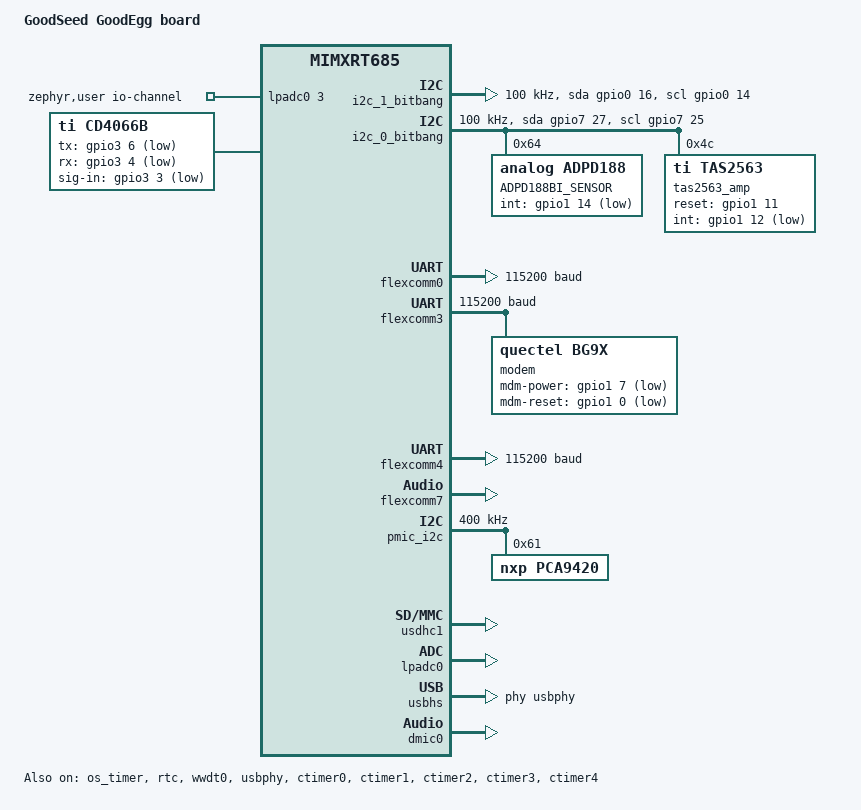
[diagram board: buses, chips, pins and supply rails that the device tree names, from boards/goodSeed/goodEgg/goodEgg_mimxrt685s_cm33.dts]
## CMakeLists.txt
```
# SPDX-License-Identifier: Apache-2.0

cmake_minimum_required(VERSION 3.20.0)
set(ZEPHYR_EXTRA_MODULES
    ${CMAKE_CURRENT_SOURCE_DIR}/modules/tas2563
    ${CMAKE_CURRENT_SOURCE_DIR}/modules/adpd188
    ${CMAKE_CURRENT_SOURCE_DIR}/modules/esp_hosted
    ${CMAKE_CURRENT_SOURCE_DIR}/modules/cd4066b
)
# set(ZEPHYR_EXTRA_MODULES "${CMAKE_CURRENT_SOURCE_DIR}/modules/tas2563")
# list(APPEND ZEPHYR_EXTRA_MODULES "${CMAKE_CURRENT_SOURCE_DIR}/modules/tas2563")
# list(APPEND ZEPHYR_EXTRA_MODULES "${CMAKE_CURRENT_SOURCE_DIR}/modules/adpd188")
# list(APPEND ZEPHYR_EXTRA_MODULES "${CMAKE_CURRENT_SOURCE_DIR}/modules/esp_hosted")
# list(APPEND ZEPHYR_EXTRA_MODULES "${CMAKE_CURRENT_SOURCE_DIR}/modules/cd4066b")
find_package(Zephyr REQUIRED HINTS $ENV{ZEPHYR_BASE})
project(goodEgg-RT685)

target_sources(app PRIVATE app/src/mqtt_over_lte_test.c app/src/mqtt_manager.c)
```

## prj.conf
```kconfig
CONFIG_XIP=n
CONFIG_NXP_IMXRT_BOOT_HEADER=n
CONFIG_BUILD_OUTPUT_BIN=y
CONFIG_GPIO=y
CONFIG_I2C=y
CONFIG_I2S=y
CONFIG_DMA=y
CONFIG_DMA_MCUX_LPC=y
CONFIG_SENSOR=y
CONFIG_SENSOR_ASYNC_API=y
CONFIG_ADC=y
CONFIG_I2C_GPIO=y
CONFIG_LIS2DW12=n
CONFIG_ADPD188=y
CONFIG_ADPD188_TRIGGER=n
CONFIG_CBPRINTF_FP_SUPPORT=y
CONFIG_LOG=y
#CONFIG_LOG_DEFAULT_LEVEL=4
CONFIG_LOG_BACKEND_UART=y
CONFIG_SDHC_LOG_LEVEL_DBG=y
CONFIG_LOG_MODE_IMMEDIATE=y
#CONFIG_CODE_DATA_RELOCATION=y
# I2S logs
#CONFIG_I2S_LOG_LEVEL_DBG=y

# DMA logs  
#CONFIG_DMA_LOG_LEVEL_DBG=y
#CONFIG_SPI=y
#CONFIG_LED_STRIP=y
#CONFIG_WS2812_STRIP=y
#CONFIG_WS2812_STRIP_SPI=y

CONFIG_INIT_SYS_PLL=y

# --- General Kernel Settings ---
CONFIG_HEAP_MEM_POOL_SIZE=16384
#CONFIG_MAIN_STACK_SIZE=4096

# --- SDIO / SDHC Configuration ---
#CONFIG_DISK_ACCESS=y
CONFIG_SDHC=y
CONFIG_IMX_USDHC=y
CONFIG_SDIO_STACK=y
CONFIG_SDHC_INIT_PRIORITY=80
CONFIG_IMX_USDHC_DMA_SUPPORT=y

#CONFIG_SDMMC_STACK=y
# --- Networking Stack (L3/L4) ---
# Since you selected WIFI_USE_NATIVE_NETWORKING, the RT685 runs the stack
CONFIG_NETWORKING=y
CONFIG_NET_L2_ETHERNET=y
CONFIG_NET_IPV4=y
CONFIG_NET_TCP=y
CONFIG_NET_UDP=y
CONFIG_NET_DHCPV4=y

# --- Wi-Fi Management ---
CONFIG_WIFI_INIT_PRIORITY=90
#CONFIG_WIFI_ESP_HOSTED_SDIO=y
CONFIG_WIFI=y
CONFIG_NET_L2_WIFI_MGMT=y
CONFIG_WIFI_NM=y
CONFIG_WIFI_LOG_LEVEL_INF=y
CONFIG_MAIN_STACK_SIZE=4096
CONFIG_SYSTEM_WORKQUEUE_STACK_SIZE=2048

# --- Protocol Buffers (Nanopb) ---
# The driver uses these to talk to the ESP32
CONFIG_NANOPB=y
CONFIG_NANOPB_ENABLE_MALLOC=y

# ---- QUECTEL LTE Modem ----
#CONFIG_MODEM=y
#CONFIG_MODEM_QUECTEL_BG9X=y

# Network stack
CONFIG_NETWORKING=y
#CONFIG_NET_NATIVE=n
CONFIG_NET_OFFLOAD=y
CONFIG_NET_SOCKETS=y
CONFIG_NET_SOCKETS_OFFLOAD=y
#CONFIG_NET_SOCKETS_POSIX_NAMES=y
CONFIG_POSIX_API=y
# UART for modem communication
CONFIG_SERIAL=y
CONFIG_UART_INTERRUPT_DRIVEN=y

# DNS (optional)
CONFIG_DNS_RESOLVER=y

# Modem specific settings
CONFIG_MODEM_QUECTEL_BG9X_APN="etc.com"

#Zephyr Mqtt library support
CONFIG_MQTT_LIB=y
CONFIG_MQTT_LIB_TLS=n  # Enable for MQTTS
CONFIG_EVENTFD=y
CONFIG_ZVFS_EVENTFD_MAX=2
CONFIG_MQTT_KEEPALIVE=60
CONFIG_POSIX_API=y
# CD4066B Driver
CONFIG_CD4066B=y
```

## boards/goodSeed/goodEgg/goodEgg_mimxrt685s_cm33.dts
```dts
/*
 * Copyright 2020-2024 NXP
 *
 * SPDX-License-Identifier: Apache-2.0
 */

/dts-v1/;

#include <nxp/imxrt/nxp_rt6xx.dtsi>
#include <zephyr/dt-bindings/pwm/pwm.h>
#include <zephyr/dt-bindings/gpio/arduino-header-r3.h>
#include <zephyr/dt-bindings/input/input-event-codes.h>

#include "mimxrt685_evk-pinctrl.dtsi"
#include <zephyr/dt-bindings/led/led.h>

/ {
	model = "GoodSeed GoodEgg board";
	compatible = "nxp,mimxrt685";

	aliases {
		/* sw0 = &user_button_1; */
		/* sw1 = &user_button_2; */
		/* led0 = &green_led; */
		/* led1 = &blue_led; */
		/* led2 = &red_led; */
		usart-0 = &flexcomm4;
		//uart0=&flexcomm7;
		/* For pwm test suites */
		/* pwm-0 = &sc_timer; */
		/* pwm-led0 = &green_pwm_led; */
		/* green-pwm-led = &green_pwm_led; */
		/* blue-pwm-led = &blue_pwm_led; */
		/* red-pwm-led = &red_pwm_led; */
		watchdog0 = &wwdt0;
		/* magn0 = &fxos8700; */
		accel0 = &lis2dw12; 
		//sdhc0 = &usdhc0;
		dmic-dev = &dmic0;
		//mcuboot-button0 = &user_button_1;
		mbox = &mbox;
		//led0 = &led0;
		adc0 = &lpadc0; 
		adpd0 = &adpd188bi;

		 /* led0 = &led0;  */
		 /* led1 = &led1; */
		//led-strip = &led_strip;

		//bme6xx = &bme680;
		//die-temp0 = &adc_temp;
		modem = &modem;
	};

	chosen {
		/* zephyr,flash-controller = &mx25um51345g; */
		zephyr,flash = &sram_code;/*&mx25um51345g; */
		zephyr,code-partition = &sram_code;
		zephyr,uart-mcumgr = &flexcomm0;
		zephyr,sram = &sram0;
		zephyr,console = &flexcomm4;
		zephyr,shell-uart = &flexcomm4;
	};

	/* leds { */
	/* 	compatible = "gpio-leds"; */
	/* 	led0: led_0 { */
	/* 		gpios = <&gpio3 8 GPIO_ACTIVE_HIGH>; */
	/* 		label = "Red LED 0"; */
	/* 	}; */
	/**/
	/* 	led1: led_1 { */
	/* 		gpios = <&gpio3 9 GPIO_ACTIVE_HIGH>; */
	/* 		label = "Green LED 0"; */
	/* 	}; */
	/* }; */
	//Bitbang i2c sensor interface
	i2c_1_bitbang: i2c-gpio-1 {

		compatible = "gpio-i2c";
		label = "I2C_0_BITBANG";
		scl-gpios = <&gpio0 14 GPIO_OPEN_DRAIN >; //<&gpio7 25 GPIO_OPEN_DRAIN >; // | GPIO_PULL_UP)>; 
		sda-gpios = <&gpio0 16 GPIO_OPEN_DRAIN >; //<&gpio7 27 GPIO_OPEN_DRAIN >;
		clock-frequency = <I2C_BITRATE_STANDARD>;
		#address-cells = <1>;
		#size-cells = <0>;
		status = "okay";

		/* bme680:bme680@76 { */
		/* 	compatible = "bosch,bme680"; */
		/* 	reg = <0x76>; */
		/* 	status = "okay"; */
		/* }; */

		lis2dw12: lis2dw12@19 {
			compatible = "st,lis2dw12";
			status = "disabled";
			reg = <0x19>;
			/* int1-gpios = <&gpio1 5 GPIO_ACTIVE_LOW>; */
			/* reset-gpios = <&gpio1 7 GPIO_ACTIVE_HIGH>; */
		};


	};
	i2c_0_bitbang: i2c-gpio-0 {

		compatible = "gpio-i2c";
		label = "I2C_0_BITBANG";
		scl-gpios = <&gpio7 25 GPIO_OPEN_DRAIN >; //<&gpio7 25 GPIO_OPEN_DRAIN >; // | GPIO_PULL_UP)>; 
		sda-gpios = <&gpio7 27 GPIO_OPEN_DRAIN >; //<&gpio7 27 GPIO_OPEN_DRAIN >;
		clock-frequency = <I2C_BITRATE_STANDARD>;
		#address-cells = <1>;
		#size-cells = <0>;
		status = "okay";

		/* bme680:bme680@76 { */
		/* 	compatible = "bosch,bme680"; */
		/* 	reg = <0x76>; */
		/* 	status = "okay"; */
		/* }; */

		adpd188bi: analog_adpd188@64 {
			compatible = "analog,adpd188";
			status = "okay";
			reg = <0x64>; 
			label = "ADPD188BI_SENSOR";
			int-gpios = <&gpio1 14 GPIO_ACTIVE_LOW>;
		};

		tas2563_amp: tas2563@4c {

			compatible = "ti,tas2563"; // Standard compatibility string for driver matching

			reg = <0x4c>;              // The 7-bit I2C address of the TAS2563

			// The driver will use this property to configure the I2S peripheral.
			audio-interface = <&i2s0>; 

			// a) RESET Pin (required for initial startup and soft resets)
			reset-gpios = <&gpio1 11 GPIO_ACTIVE_HIGH>; 

			// b) INTERRUPT Pin (for real-time events like short-circuit or thermal warning)
			int-gpios = <&gpio1 12 (GPIO_PULL_UP | GPIO_ACTIVE_LOW)>;

			status = "okay";
		};

	};
	zephyr,user {

        // The io-channels property lives HERE, on the consumer node.
        // Format: <&controller_phandle channel_specifier>
		io-channels = 
            /* <&lpadc0 2>, // Read Hardware Channel 0 from &adc0 */
             <&lpadc0 3>; // Read Hardware Channel 2 from &adc0 */
            /* <&lpadc0 10>, // Read Hardware Channel 0 from &adc0 */
            /* <&lpadc0 11>; // Read Hardware Channel 0 from &adc0 */

	    zephyr,gain = "ADC_GAIN_1_2"; 
	    zephyr,reference = "ADC_REF_EXTERNAL0"; 
            //zephyr,acquisition-time = <ADC_ACQ_TIME_DEFAULT>;
	};
	/* CD4066B Interconnect Switch device tree*/
	cd4066b: cd4066b {

		compatible = "ti,cd4066b";

		status = "okay";
		
		/* TX control - active low */
		tx-gpios = <&gpio3 6 GPIO_ACTIVE_LOW>;
		
		/* RX control - active low */
		rx-gpios = <&gpio3 4 GPIO_ACTIVE_LOW>;
		
		/* Signal input - falling edge interrupt */
		sig-in-gpios = <&gpio3 3 GPIO_ACTIVE_LOW>;
	};
	/* gpio_keys { */
	/* 	compatible = "gpio-keys"; */
	/**/
	/* 	user_button_1: button_0 { */
	/* 		label = "User SW1"; */
	/* 		gpios = <&gpio1 1 GPIO_ACTIVE_LOW>; */
	/* 		zephyr,code = <INPUT_KEY_0>; */
	/* 	}; */
	/**/
	/* 	user_button_2: button_1 { */
	/* 		label = "User SW2"; */
	/* 		gpios = <&gpio0 10 GPIO_ACTIVE_LOW>; */
	/* 		zephyr,code = <INPUT_KEY_1>; */
	/* 	}; */
	/* }; */
	/**/
	/* leds: leds { */
	/* 	compatible = "gpio-leds"; */
	/**/
	/* 	green_led: led_1 { */
	/* 		gpios = <&gpio0 14 0>; */
	/* 		label = "User LED_GREEN"; */
	/* 	}; */
	/**/
	/* 	blue_led: led_2 { */
	/* 		gpios = <&gpio0 26 0>; */
	/* 		label = "User LED_BLUE"; */
	/* 	}; */
	/**/
	/* 	red_led: led_3 { */
	/* 		gpios = <&gpio0 31 0>; */
	/* 		label = "User LED_RED"; */
	/* 	}; */
	/* }; */
	/**/
	/* pwmleds { */
	/* 	compatible = "pwm-leds"; */
	/**/
	/* 	green_pwm_led: green_pwm_led { */
	/* 		pwms = <&sc_timer 0 PWM_MSEC(20) PWM_POLARITY_NORMAL>; */
	/* 		label = "Green PWM LED"; */
	/* 		status = "okay"; */
	/* 	}; */
	/**/
	/* 	blue_pwm_led: blue_pwm_led { */
	/* 		pwms = <&sc_timer 6 PWM_MSEC(20) PWM_POLARITY_NORMAL>; */
	/* 		label = "Blue PWM LED"; */
	/* 		status = "okay"; */
	/* 	}; */
	/**/
	/* 	red_pwm_led: red_pwm_led { */
	/* 		pwms = <&sc_timer 6 PWM_MSEC(20) PWM_POLARITY_NORMAL>; */
	/* 		label = "Red PWM LED"; */
	/* 		status = "disabled"; */
	/* 	}; */
	/* }; */
	/**/
	/* arduino_header: arduino-connector { */
	/* 	compatible = "arduino-header-r3"; */
	/* 	#gpio-cells = <2>; */
	/* 	gpio-map-mask = <0xffffffff 0xffffffc0>; */
	/* 	gpio-map-pass-thru = <0 0x3f>; */
	/* 	gpio-map = <ARDUINO_HEADER_R3_A0 0 &gpio0 5 0>, */
	/* 		   <ARDUINO_HEADER_R3_A1 0 &gpio0 6 0>, */
	/* 		   <ARDUINO_HEADER_R3_A2 0 &gpio0 19 0>, */
	/* 		   <ARDUINO_HEADER_R3_A3 0 &gpio0 20 0>, */
	/* 		   <ARDUINO_HEADER_R3_A4 0 &gpio0 17 0>, */
	/* 		   <ARDUINO_HEADER_R3_A5 0 &gpio0 18 0>, */
	/* 		   <ARDUINO_HEADER_R3_D0 0 &gpio0 30 0>, */
	/* 		   <ARDUINO_HEADER_R3_D1 0 &gpio0 29 0>, */
	/* 		   <ARDUINO_HEADER_R3_D2 0 &gpio0 28 0>, */
	/* 		   <ARDUINO_HEADER_R3_D3 0 &gpio0 27 0>, */
	/* 		   <ARDUINO_HEADER_R3_D4 0 &gpio1 0 0>, */
	/* 		   <ARDUINO_HEADER_R3_D5 0 &gpio1 10 0>, */
	/* 		   <ARDUINO_HEADER_R3_D6 0 &gpio1 2 0>, */
	/* 		   <ARDUINO_HEADER_R3_D7 0 &gpio1 8 0>, */
	/* 		   <ARDUINO_HEADER_R3_D8 0 &gpio1 9 0>, */
	/* 		   <ARDUINO_HEADER_R3_D9 0 &gpio1 7 0>, */
	/* 		   <ARDUINO_HEADER_R3_D10 0 &gpio1 6 0>, */
	/* 		   <ARDUINO_HEADER_R3_D11 0 &gpio1 5 0>, */
	/* 		   <ARDUINO_HEADER_R3_D12 0 &gpio1 4 0>, */
	/* 		   <ARDUINO_HEADER_R3_D13 0 &gpio1 3 0>, */
	/* 		   <ARDUINO_HEADER_R3_D14 0 &gpio0 17 0>, */
	/* 		   <ARDUINO_HEADER_R3_D15 0 &gpio0 18 0>; */
	/* }; */
};

/*
 * RT600 EVK board uses OS timer as the kernel timer
 * In case we need to switch to SYSTICK timer, then
 * replace &os_timer with &systick
 */
&os_timer {
	status = "okay";
	wakeup-source;
};

&rtc {
	status = "okay";
};

&flexcomm0 {
	compatible = "nxp,lpc-usart";
	status = "okay";
	current-speed = <115200>;
	pinctrl-0 = <&pinmux_flexcomm0_usart>;
	pinctrl-names = "default";
	dmas = <&dma0 0>, <&dma0 1>;
	dma-names = "rx", "tx";
};

&flexcomm3 {
	compatible = "nxp,lpc-usart";
	status = "okay";
	current-speed = <115200>;
	pinctrl-0 = <&pinmux_flexcomm3_usart>;
	pinctrl-names = "default";
	dmas = <&dma0 10>, <&dma0 11>;
	dma-names = "rx", "tx";

	modem: modem {
		compatible = "quectel,bg9x";
		mdm-power-gpios = <&gpio1 7 GPIO_ACTIVE_LOW>;
		mdm-reset-gpios = <&gpio1 0 GPIO_ACTIVE_LOW>;
		status = "okay";
	};
};

&flexcomm4 {
	compatible = "nxp,lpc-usart";
	status = "okay";
	current-speed = <115200>;
	pinctrl-0 = <&pinmux_flexcomm4_usart>;
	pinctrl-names = "default";
	dmas = <&dma0 8>, <&dma0 9>;
	dma-names = "rx", "tx";
};


/* &flexcomm4 { */
/* 	compatible = "nxp,lpc-spi"; */
/* 	status = "okay"; */
/* 	#address-cells = <1>; */
/* 	#size-cells = <0>; */
/* 	dmas = <&dma0 8>, <&dma0 9>; */
/* 	dma-names = "rx", "tx"; */
/* 	pinctrl-0 = <&pinmux_flexcomm4_spi>; */
/* 	pinctrl-names = "default"; */
/**/
/* 	led_strip: pi22tat@0 { */
/* 		compatible = "worldsemi,ws2812-spi"; */
/* 		reg = <0>; */
/* 		/* Calculated Frequency: 6.4MHz  */
/* 		 * Datasheet requires 1.25us total bit time (0.156us per SPI bit)  */
/* 		*/ 
/* 		spi-max-frequency = <6400000>; */
/* 		chain-length = <60>;  /* Number of LEDs */ 
/* 		/* * 0-code: 0.3us High / 0.9us Low   */
/* 	         * 0.3us / 0.156us ≈ 2 bits high -> 11000000 (0xC0) */
/* 		 */ 
/* 		spi-zero-frame = <0xC0>; */
/* 		/* * 1-code: 0.9us High / 0.3us Low  */
/* 		 * 0.9us / 0.156us ≈ 6 bits high -> 11111100 (0xFC) */
/* 		*/ 
/* 		spi-one-frame = <0xFC>; */
/* 		color-mapping = <LED_COLOR_ID_GREEN */
/* 				 LED_COLOR_ID_RED */
/* 				 LED_COLOR_ID_BLUE>; */
/* 	}; */
/* }; */

/* &flexcomm7 { */
/* 	compatible = "nxp,lpc-usart"; */
/* 	status = "okay"; */
/* 	current-speed = <115200>; */
/* 	pinctrl-0 = <&pinmux_flexcomm7_usart>; */
/* 	pinctrl-names = "default"; */
/* 	dmas = <&dma0 14>, <&dma0 15>; */
/* 	dma-names = "rx", "tx"; */
/* }; */

//I2S transmit channel 
i2s0: &flexcomm7 {
	status = "okay";
	compatible = "nxp,lpc-i2s";
	#address-cells = <1>;
	#size-cells = <0>;
	dmas = <&dma0 15>;
	dma-names = "tx";
	pinctrl-0 = <&pinmux_flexcomm7_i2s>;
	pinctrl-names = "default";
};
/* i2s0: &flexcomm6 { */
/* 	status = "okay"; */
/* 	compatible = "nxp,lpc-i2s"; */
/* 	#address-cells = <1>; */
/* 	#size-cells = <0>; */
/* 	dmas = <&dma0 13>; */
/* 	dma-names = "tx"; */
/* 	pinctrl-0 = <&pinmux_flexcomm6_i2s>; */
/* 	pinctrl-names = "default"; */
/* }; */
/**/
/* arduino_i2c: &flexcomm2 { */
/* 	compatible = "nxp,lpc-i2c"; */
/* 	status = "okay"; */
/* 	pinctrl-0 = <&pinmux_flexcomm2_i2c>; */
/* 	pinctrl-names = "default"; */
/* 	clock-frequency = <I2C_BITRATE_FAST>; */
/* 	#address-cells = <1>; */
/* 	#size-cells = <0>; */
/**/
/* 	fxos8700: fxos8700@1e { */
/* 		compatible = "nxp,fxos8700"; */
/* 		status = "okay"; */
/* 		reg = <0x1e>; */
/* 		int1-gpios = <&gpio1 5 GPIO_ACTIVE_LOW>; */
/* 		reset-gpios = <&gpio1 7 GPIO_ACTIVE_HIGH>; */
/* 	}; */
/**/
/* }; */
/**/
/* arduino_serial: &flexcomm4 { */
/* 	compatible = "nxp,lpc-usart"; */
/* 	status = "okay"; */
/* 	current-speed = <115200>; */
/* 	pinctrl-0 = <&pinmux_flexcomm4_usart>; */
/* 	pinctrl-names = "default"; */
/* 	dmas = <&dma0 8>, <&dma0 9>; */
/* 	dma-names = "rx", "tx"; */
/* }; */
/**/
/* arduino_spi: &flexcomm5 { */
/* 	compatible = "nxp,lpc-spi"; */
/* 	status = "okay"; */
/* 	#address-cells = <1>; */
/* 	#size-cells = <0>; */
/* 	dmas = <&dma0 10>, <&dma0 11>; */
/* 	dma-names = "rx", "tx"; */
/* 	pinctrl-0 = <&pinmux_flexcomm5_spi>; */
/* 	pinctrl-names = "default"; */
/* }; */
/**/
/* I2S receive channel */ 
/* i2s0: &flexcomm1 { */
/* 	status = "okay"; */
/* 	compatible = "nxp,lpc-i2s"; */
/* 	#address-cells = <1>; */
/* 	#size-cells = <0>; */
/* 	dmas = <&dma0 2>; */
/* 	dma-names = "rx"; */
/* 	pinctrl-0 = <&pinmux_flexcomm1_i2s>; */
/* 	pinctrl-names = "default"; */
/* }; */
/**/
/* I2S transmit channel */ 
/* i2s0: &flexcomm3 { */
/* 	status = "okay"; */
/* 	compatible = "nxp,lpc-i2s"; */
/* 	#address-cells = <1>; */
/* 	#size-cells = <0>; */
/* 	dmas = <&dma0 7>; */
/* 	dma-names = "tx"; */
/* 	pinctrl-0 = <&pinmux_flexcomm3_i2s>; */
/* 	pinctrl-names = "default"; */
/* }; */
/**/
/* PCA9420 PMIC */
&pmic_i2c {
	status = "okay";
	compatible = "nxp,lpc-i2c";
	clock-frequency = <I2C_BITRATE_FAST>;
	#address-cells = <1>;
	#size-cells = <0>;
	pinctrl-0 = <&pinmux_pmic_i2c>;
	pinctrl-names = "default";

	pca9420: pca9420@61 {
		compatible = "nxp,pca9420";
		reg = <0x61>;
		nxp,enable-modesel-pins;

		buck1: BUCK1 {
			regulator-boot-on;
		};

		buck2: BUCK2 {
			regulator-boot-on;
		};

		ldo1: LDO1 {
			regulator-boot-on;
		};

		ldo2: LDO2 {
			regulator-boot-on;
		};
	};
};

/* &flexspi { */
/* 	pinctrl-0 = <&pinmux_flexspi>; */
/* 	pinctrl-names = "default"; */
/* 	status = "okay"; */
/**/
/* 	mx25um51345g: mx25um51345g@2 { */
/* 		compatible = "nxp,imx-flexspi-mx25um51345g"; */
  		/*MX25UM51245G is 64MB, 512MBit flash part */ 
/* 		size = <DT_SIZE_M(64 * 8)>; */
/* 		reg = <2>; */
/* 		spi-max-frequency = <DT_FREQ_M(120)>; */
/* 		status = "okay"; */
/* 		jedec-id = [c2 81 3a]; */
/* 		erase-block-size = <DT_SIZE_K(4)>; */
/* 		write-block-size = <1>; /* FLASH_MCUX_FLEXSPI_MX25UM51345G_OPI_STR set */ 
/**/
/* 		partitions { */
/* 			compatible = "fixed-partitions"; */
/* 			#address-cells = <1>; */
/* 			#size-cells = <1>; */
/**/
 			/* 
 			 * Partition sizes must be aligned 
 			 * to the flash memory sector size of 4KB. */ 
/**/
/* 			boot_partition: partition@0 { */
/* 				label = "mcuboot"; */
/* 				reg = <0x00000000 DT_SIZE_K(128)>; */
/* 			}; */
/**/
/* 			slot0_partition: partition@20000 { */
/* 				label = "image-0"; */
/* 				reg = <0x00020000 DT_SIZE_M(3)>; */
/* 			}; */
/**/
/* 			slot1_partition: partition@320000 { */
/* 				label = "image-1"; */
/* 				reg = <0x00320000 DT_SIZE_M(3)>; */
/* 			}; */
/**/
/* 			storage_partition: partition@620000 { */
/* 				label = "storage"; */
/* 				reg = <0x00620000 (DT_SIZE_M(58) - DT_SIZE_K(128))>; */
/* 			}; */
/* 		}; */
/* 	}; */
/* }; */

&gpio0 {
	status = "okay";
};

&gpio1 {
	status = "okay";
};

&gpio2 {
	status = "okay";
};

&gpio3 {
	status = "okay";
};

&gpio4 {
	status = "okay";
};

&gpio7 {
	status = "okay";
};

&dma0 {
	status = "okay";
};

&wwdt0 {
	status = "okay";
};

/* &user_button_1 { */
/* 	status = "okay"; */
/* }; */
/**/
/* &user_button_2 { */
/* 	status = "okay"; */
/* }; */
/**/
/* &green_led { */
/* 	status = "okay"; */
/* }; */
/**/
/* &blue_led { */
/* 	status = "okay"; */
/* }; */
/**/
/* &red_led { */
/* 	status = "okay"; */
/* }; */
/**/
/* &sc_timer { */
/* 	status = "okay"; */
/* 	pinctrl-0 = <&pinmux_sctimer>; */
/* 	pinctrl-names = "default"; */
/* }; */

&usdhc1 {
	status = "okay";
	/* Quick fix for 1.8V SD cards on RT600- disable 1.8V negotiation */
	no-1-8-v;
	max-bus-freq = <400000>;
	/* pwr-gpios = <&gpio2 10 GPIO_ACTIVE_HIGH>; */
	/* cd-gpios = <&gpio2 9 GPIO_ACTIVE_LOW>; */

	/* sdmmc { */
	/* 	compatible = "zephyr,sdmmc-disk"; */
	/* 	disk-name = "SD"; */
	/* 	status = "disabled"; */
	/* }; */
	#address-cells = <1>;
	#size-cells = <0>;
	esp32: esp32@1 {

		status = "disabled";
		compatible = "espressif,esp-hosted-sdio";
		reg = <1>;
		//reset-gpios = <&gpio1 9 GPIO_ACTIVE_HIGH>;
		reset-gpios = <&gpio3 19 GPIO_ACTIVE_HIGH>;
	};
	pinctrl-0 = <&pinmux_usdhc>;
	pinctrl-names = "default";
};

&lpadc0 {
	status = "okay";
	pinctrl-0 = <&pinmux_lpadc0>;
	pinctrl-names = "default";
};

zephyr_udc0: &usbhs {
	status = "okay";
	phy-handle = <&usbphy>;
};

&usbphy {
	status = "okay";
	tx-d-cal = <12>;
	tx-cal-45-dp-ohms = <6>;
	tx-cal-45-dm-ohms = <6>;
};

&ctimer0 {
	status = "okay";
};

&ctimer1 {
	status = "okay";
};

&ctimer2 {
	status = "okay";
};

&ctimer3 {
	status = "okay";
};

&ctimer4 {
	status = "okay";
};

/* &i3c0 { */
/* 	pinctrl-0 = <&pinmux_i3c>; */
/* 	pinctrl-names = "default"; */
/**/
/* 	status = "okay"; */
/**/
/* 	audio_codec: wm8904@1a0000000000000000 { */
/* 		compatible = "wolfson,wm8904"; */
/* 		reg = <0x1a 0 0>; */
/**/
/* 		clock-source = "MCLK"; */
/**/
/* 		clocks = <&clkctl0 MCUX_AUDIO_MCLK>; */
/* 		clock-names = "mclk"; */
/* 	}; */
/* }; */

&sram_code {

	status = "okay";

};

/* Disable this node if not using USB and need another MPU region */
&sram1 {
	status = "okay";
};

&mbox {
	status = "okay";
};

&dmic0 {
	status = "okay";
	pinctrl-0 = <&pinmux_dmic0>;
	pinctrl-names = "default";
	use2fs;
};

/* Configure pdm channels 0 and 1 with gain, and cutoff settings
 * appropriate for the attached MEMS microphones.
 */
/* &pdmc0 { */
/* 	status = "okay"; */
/* 	gainshift = <3>; */
/* 	dc-cutoff = "155hz"; */
/* 	dc-gain = <1>; */
/* }; */
/**/
/* &pdmc1 { */
/* 	status = "okay"; */
/* 	gainshift = <3>; */
/* 	dc-cutoff = "155hz"; */
/* 	dc-gain = <1>; */
/* }; */
```

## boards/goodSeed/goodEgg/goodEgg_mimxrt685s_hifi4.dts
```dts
/*
 * Copyright 2025 NXP
 * SPDX-License-Identifier: Apache-2.0
 */

/dts-v1/;

#include <nxp/nxp_rt685_hifi4.dtsi>
#include <zephyr/dt-bindings/gpio/gpio.h>

#include "mimxrt685_evk-pinctrl.dtsi"

/ {
	model = "NXP MIMXRT685-EVK board, HiFi 4 DSP domain";
	compatible = "nxp,mimxrt685";

	chosen {
		zephyr,console = &flexcomm0;
		zephyr,shell-uart = &flexcomm0;
	};

	aliases {
		led0 = &green_led;
		led1 = &blue_led;
		led2 = &red_led;
		sw0 = &user_button_1;
		mbox = &mbox;
	};

	leds: leds {
		compatible = "gpio-leds";

		green_led: led_1 {
			gpios = <&gpio0 14 0>;
			label = "User LED_GREEN";
		};

		/* blue_led: led_2 { */
		/* 	gpios = <&gpio0 26 0>; */
		/* 	label = "User LED_BLUE"; */
		/* }; */
		/**/
		/* red_led: led_3 { */
		/* 	gpios = <&gpio0 31 0>; */
		/* 	label = "User LED_RED"; */
		/* }; */
	};

	gpio_keys {
		compatible = "gpio-keys";

		user_button_1: button_0 {
			label = "User SW1";
			gpios = <&gpio1 1 GPIO_ACTIVE_LOW>;
			zephyr,code = <INPUT_KEY_0>;
		};
	};
};

&gpio0 {
	status = "okay";
};

&dma1 {
	status = "okay";
};

&flexcomm0 {
	compatible = "nxp,lpc-usart";
	pinctrl-0 = <&pinmux_flexcomm0_usart>;
	pinctrl-names = "default";
	current-speed = <115200>;
	status = "okay";
};

/* I2S receive channel */
i2s0: &flexcomm1 {
	status = "okay";
	compatible = "nxp,lpc-i2s";
	#address-cells = <1>;
	#size-cells = <0>;
	dmas = <&dma1 2>;
	dma-names = "rx";
	pinctrl-0 = <&pinmux_flexcomm1_i2s>;
	pinctrl-names = "default";
};

/* I2S transmit channel */
i2s1: &flexcomm3 {
	status = "okay";
	compatible = "nxp,lpc-i2s";
	#address-cells = <1>;
	#size-cells = <0>;
	dmas = <&dma1 7>;
	dma-names = "tx";
	pinctrl-0 = <&pinmux_flexcomm3_i2s>;
	pinctrl-names = "default";
};

&i3c0 {
	status = "okay";
	pinctrl-0 = <&pinmux_i3c>;
	pinctrl-names = "default";

	audio_codec: wm8904@1a0000000000000000 {
		compatible = "wolfson,wm8904";
		reg = <0x1a 0 0>;
		clock-source = "MCLK";

		clocks = <&clkctl0 MCUX_AUDIO_MCLK>;
		clock-names = "mclk";
	};
};

&mbox {
	status = "okay";
};
```

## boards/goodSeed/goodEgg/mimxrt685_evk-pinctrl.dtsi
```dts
/*
 * NOTE: File generated by gen_board_pinctrl.py
 * from MIMXRT685-EVK.mex
 *
 * Copyright 2022, 2024 NXP
 * SPDX-License-Identifier: Apache-2.0
 */

//#include <nxp/nxp_imx/rt/MIMXRT685SFVKB-pinctrl.h>
#include <nxp/nxp_imx/rt/MIMXRT685SFFOB-pinctrl.h>

&pinctrl {
	pinmux_flexcomm0_usart: pinmux_flexcomm0_usart {
		group0 {
			pinmux = <FC0_RXD_SDA_MOSI_DATA_PIO0_2>;
			input-enable;
			slew-rate = "normal";
			drive-strength = "normal";
		};

		group1 {
			pinmux = <FC0_TXD_SCL_MISO_WS_PIO0_1>;
			slew-rate = "normal";
			drive-strength = "normal";
		};
	};

	pinmux_flexcomm1_i2s: pinmux_flexcomm1_i2s {
		group0 {
			pinmux = <FC1_RXD_SDA_MOSI_DATA_PIO0_9>;
			input-enable;
			slew-rate = "normal";
			drive-strength = "high";
		};
	};

	pinmux_flexcomm2_i2c: pinmux_flexcomm2_i2c {
		group0 {
			pinmux = <FC2_CTS_SDA_SSEL0_PIO0_17>,
				 <FC2_RTS_SCL_SSEL1_PIO0_18>;
			bias-pull-up;
			input-enable;
			slew-rate = "normal";
			drive-strength = "high";
			drive-open-drain;
		};
	};

	/* pinmux_flexcomm3_i2s: pinmux_flexcomm3_i2s { */
	/* 	group0 { */
	/* 		pinmux = <FC3_RXD_SDA_MOSI_DATA_PIO0_23>, */
	/* 			 <FC3_TXD_SCL_MISO_WS_PIO0_22>, */
	/* 			 <FC3_SCK_PIO0_21>, */
	/* 			 <MCLK_PIO1_10>; */
	/* 		input-enable; */
	/* 		slew-rate = "normal"; */
	/* 		drive-strength = "high"; */
	/* 	}; */
	/* }; */

	pinmux_flexcomm3_i2c: pinmux_flexcomm3_i2c {
		group0 {
			pinmux = <FC3_RXD_SDA_MOSI_DATA_PIO0_23>,
				 <FC3_TXD_SCL_MISO_WS_PIO0_22>;

			bias-pull-up;
			input-enable;
			slew-rate = "normal";
			drive-strength = "high";
			drive-open-drain;
		};
	};

	pinmux_flexcomm3_usart: pinmux_flexcomm3_usart {
		group0 {
			pinmux = <FC3_RXD_SDA_MOSI_DATA_PIO0_23>;
			input-enable;
			slew-rate = "normal";
			drive-strength = "normal";
		};

		group1 {
			pinmux = <FC3_TXD_SCL_MISO_WS_PIO0_22>;
			slew-rate = "normal";
			drive-strength = "normal";
		};
	};

	pinmux_flexcomm4_usart: pinmux_flexcomm4_usart {
		group0 {
			pinmux = <FC4_RXD_SDA_MOSI_DATA_PIO0_30>;
			input-enable;
			slew-rate = "normal";
			drive-strength = "normal";
		};

		group1 {
			pinmux = <FC4_TXD_SCL_MISO_WS_PIO0_29>;
			slew-rate = "normal";
			drive-strength = "normal";
		};
	};

	pinmux_flexcomm4_spi: pinmux_flexcomm4_spi {
		group0 {
			pinmux= <FC4_SCK_PIO0_28>,
				 <FC4_TXD_SCL_MISO_WS_PIO0_29>,
				 <FC4_RXD_SDA_MOSI_DATA_PIO0_30>,
				 <FC4_CTS_SDA_SSEL0_PIO0_31>;
			input-enable;
			slew-rate = "normal";
			drive-strength = "normal";
		};
	};
	pinmux_flexcomm5_spi: pinmux_flexcomm5_spi {
		group0 {
			pinmux= <FC5_SCK_PIO1_3>,
				 <FC5_TXD_SCL_MISO_WS_PIO1_4>,
				 <FC5_RXD_SDA_MOSI_DATA_PIO1_5>,
				 <FC5_CTS_SDA_SSEL0_PIO1_6>;
			input-enable;
			slew-rate = "normal";
			drive-strength = "normal";
		};
	};

	pinmux_flexcomm6_i2s: pinmux_flexcomm6_i2s {
		group0 {
			pinmux = <FC6_RXD_SDA_MOSI_DATA_PIO3_27>,
				 <FC6_TXD_SCL_MISO_WS_PIO3_26>,
				 <FC6_SCK_PIO3_25>;
			input-enable;
			slew-rate = "normal";
			drive-strength = "high";
		};
	};
	pinmux_flexcomm7_i2s: pinmux_flexcomm7_i2s {
		group0 {
			pinmux = <FC7_RXD_SDA_MOSI_DATA_PIO4_2>,
				 <FC7_TXD_SCL_MISO_WS_PIO4_1>,
				 <FC7_SCK_PIO4_0>;
			input-enable;
			slew-rate = "normal";
			drive-strength = "high";
		};
	};
	pinmux_dmic0: pinmux_dmic0 {
		group0 {
			pinmux = <DMIC0_DATA2_3_PIO2_21>, <DMIC0_DATA0_1_PIO2_20>,
				 <DMIC0_CLK0_1_PIO2_16>;
			slew-rate = "normal";
			drive-strength = "normal";
			input-enable;
		};
	};

	/* pinmux_flexspi: pinmux_flexspi { */
	/* 	group0 { */
	/* 		pinmux = <FLEXSPI0B_DATA0_PIO1_11>, */
	/* 			 <FLEXSPI0B_DATA1_PIO1_12>, */
	/* 			 <FLEXSPI0B_DATA2_PIO1_13>, */
	/* 			 <FLEXSPI0B_DATA3_PIO1_14>, */
	/* 			 <FLEXSPI0B_SCLK_PIO1_29>, */
	/* 			 <FLEXSPI0B_DATA4_PIO2_17>, */
	/* 			 <FLEXSPI0B_DATA5_PIO2_18>, */
	/* 			 <FLEXSPI0B_SS0_N_PIO2_19>, */
	/* 			 <FLEXSPI0B_DATA6_PIO2_22>, */
	/* 			 <FLEXSPI0B_DATA7_PIO2_23>; */
	/* 		input-enable; */
	/* 		slew-rate = "normal"; */
	/* 		drive-strength = "high"; */
	/* 	}; */
	/**/
	/* 	group1 { */
	/* 		pinmux = <GPIO_PIO212_PIO2_12>; */
	/* 		slew-rate = "normal"; */
	/* 		drive-strength = "normal"; */
	/* 	}; */
	/* }; */

	/*
	 * The current test and sample applications uses a single channel for
	 * testing so we only need to enable the pin for that single use.
	 *
	 * If your application requires more then the mappings are as follows
	 * for the rt685_evk:
	 *
	 * +---------+------+---------+-------+
	 * |  Port#  | ADC  |Schematic|Arduino|
	 * |   pin   | Chn# |         |header |
	 * +---------+------+---------+-------+
	 * | PIO0_5  | CH0A | ADC0_0  | J30.1 |
	 * +---------+------+---------+-------+
	 * | PIO0_6  | CH0B | ADC0_8  | J30.2 |
	 * +---------+------+---------+-------+
	 * | PIO0_12 | CH1A | ADC0_1  |       |
	 * +---------+------+---------+-------+
	 * | PIO0_13 | CH1B | ADC0_9  |       |
	 * +---------+------+---------+-------+
	 * | PIO0_19 | CH2A | ADC0_2  | J30.3 |
	 * +---------+------+---------+-------+
	 * | PIO0_20 | CH2B | ADC0_10 | J30.4 |
	 * +---------+------+---------+-------+
	 * | PIO0_26 | CH3A | ADC0_3  |       |
	 * +---------+------+---------+-------+
	 * | PIO0_27 | CH3B | ADC0_11 |       |
	 * +---------+------+---------+-------+
	 * | PIO1_8  | CH4A | ADC0_4  |       |
	 * +---------+------+---------+-------+
	 * | PIO1_9  | CH4B | ADC0_12 |       |
	 * +---------+------+---------+-------+
	 * | PIO3_23 | CH5A | ADC0_5  |       |
	 * +---------+------+---------+-------+
	 * | PIO3_24 | CH5B | ADC0_13 |       |
	 * +---------+------+---------+-------+
	 *
	 * Per the mimxrt6xx reference manual, The channels 0-5 are analong input.
	 * Optionally, channels 0A through 5A can be paired with channels 0B
	 * through 5B for differential input on their respective ADC channel.
	 *
	 */
	pinmux_lpadc0: pinmux_lpadc0 {
		group0 {
			pinmux = <ADC0_CH2_PIO0_19>,
				<ADC0_CH10_PIO0_20>,
				<ADC0_CH3_PIO0_26>,
				<ADC0_CH11_PIO0_27>;
			slew-rate = "normal";
			drive-strength = "normal";
			nxp,analog-mode;
		};
	};

	/* pinmux_lpadc0: pinmux_lpadc0 { */
	/* 	group0 { */
	/* 		pinmux = <ADC0_CH2_PIO0_19>, */
	/* 			<ADC0_CH8_PIO0_6>, */
	/*  			<ADC0_CH10_PIO0_20>, */
	/* 			<ADC0_CH0_PIO0_5>; */
	/* 		slew-rate = "normal"; */
	/* 		drive-strength = "normal"; */
	/* 		nxp,analog-mode; */
	/* 	}; */
	/* }; */
	pinmux_pmic_i2c: pinmux_pmic_i2c {
		group0 {
			pinmux = <PMIC_I2C_SCL>,
				 <PMIC_I2C_SDA>;
			bias-pull-up;
			input-enable;
			slew-rate = "normal";
			drive-strength = "normal";
			drive-open-drain;
		};
	};

	/* pinmux_sctimer: pinmux_sctimer { */
	/* 	group0 { */
	/* 		pinmux = <SCT0_OUT7_PIO0_27>, */
	/* 			 <SCT0_OUT0_PIO0_14>, */
	/* 			 <SCT0_OUT6_PIO0_26>, */
	/* 			 <SCT0_OUT6_PIO0_31>; */
	/* 		slew-rate = "normal"; */
	/* 		drive-strength = "normal"; */
	/* 	}; */
	/* }; */

	/* pinmux_usdhc: pinmux_usdhc { */
	/* 	group0 { */
	/* 		pinmux = <SD0_CMD_PIO1_31>, */
	/* 			 <USDHC0_USDHC_DATA0_PIO2_0>, */
	/* 			 <USDHC0_USDHC_DATA1_PIO2_1>, */
	/* 			 <USDHC0_USDHC_DATA2_PIO2_2>, */
	/* 			 <USDHC0_USDHC_DATA3_PIO2_3>; */
	/* 			 //<GPIO_PIO29_PIO2_9>; */
	/* 		//bias-pull-up; */
	/* 		input-enable; */
	/* 		slew-rate = "normal"; */
	/* 		drive-strength = "normal"; */
	/* 	}; */
	/**/
	/* 	group1 { */
	/* 		pinmux = <SD0_CLK_PIO1_30>; */
	/* 		input-enable; */
	/* 		slew-rate = "normal"; */
	/* 		drive-strength = "normal"; */
	/* 	}; */
		/* group2 { */
		/* 	pinmux = <GPIO_PIO210_PIO2_10>, */
		/* 		 <GPIO_PIO24_PIO2_4>; */
		/* 	slew-rate = "normal"; */
		/* 	drive-strength = "high"; */
		/* }; */
	//}; 

	pinmux_usdhc: pinmux_usdhc {
		group0 {
			pinmux = <SD1_CMD_PIO3_9>,
				 <USDHC1_USDHC_DATA0_PIO3_10>,
				 <USDHC1_USDHC_DATA1_PIO3_11>,
				 <USDHC1_USDHC_DATA2_PIO3_12>,
				 <USDHC1_USDHC_DATA3_PIO3_13>;
				 //<GPIO_PIO29_PIO2_9>;
			bias-pull-up;
			input-enable;
			slew-rate = "normal";
			drive-strength = "high";
		};

		group1 {
			pinmux = <SD1_CLK_PIO3_8>;
			input-enable;
			slew-rate = "normal";
			drive-strength = "normal";
		};
	};
	pinmux_i3c: pinmux_i3c {
		group0 {
			pinmux = <I3C0_SCL_PIO2_29>,
				 <I3C0_SDA_PIO2_30>;
			input-enable;
			slew-rate = "slow";
			drive-strength = "high";
		};

		group1 {
			pinmux = <I3C0_PUR_PIO2_31>;
			slew-rate = "normal";
			drive-strength = "normal";
		};
	};

	pinmux_ctimer2_pwm: pinmux_ctimer2_pwm {
		group0 {
			pinmux = <CTIMER2_MATCH0_PIO0_14>;
			slew-rate = "normal";
			drive-strength = "normal";
		};
	};
};
```

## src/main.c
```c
/*
 * Copyright (c) 2016 Intel Corporation
 *
 * SPDX-License-Identifier: Apache-2.0
 */

// #include "zephyr/dt-bindings/adc/adc.h"
// #include <stdio.h>
// #include <zephyr/drivers/adc.h>
// #include <zephyr/drivers/gpio.h>
// #include <zephyr/drivers/sensor.h>
// #include <zephyr/kernel.h>
//
// // 1. Define the node identifier for our ADC readings consumer.
// #define ADC_READINGS_NODE DT_PATH(adc_readings)
//
// // 2. Get the ADC controller device handle from the first channel definition.
// // We use the first channel's controller because all channels use the same
// // controller.
// #define ADC_DEV_ID DT_IO_CHANNELS_CTLR(DT_CHILD(ADC_READINGS_NODE, io_channels))
// // static const struct device *adc_dev = DEVICE_DT_GET(ADC_DEV_ID);
//
// // 3. Get the total number of channels defined in the io-channels property.
// // #define CHANNEL_COUNT DT_NUM_IO_CHANNELS(ADC_READINGS_NODE)
//
// // --- Configuration Arrays (Now filled by DTS macros) ---
//
// // Define a macro to extract the hardware channel number (the '0' or '2' from
// // the DTS)
// #define GET_HW_CHANNEL(idx) DT_IO_CHANNELS_INPUT_BY_IDX(ADC_READINGS_NODE, idx)
//
// /* ADC node from the devicetree. */
// #define ADC_NODE DT_ALIAS(adc0)
//
// /* Auxiliary macro to obtain channel vref, if available. */
// #define CHANNEL_VREF(node_id) DT_PROP_OR(node_id, zephyr_vref_mv, 0)
//
// /* ADC device specified in devicetree. */
// static const struct device *adc_dev = DEVICE_DT_GET(ADC_NODE);
//
// // Define a macro to extract the gain, acquisition time, etc., using the
// // DT-defined channel index. NOTE: Since the properties (gain, acquisition-time,
// // etc.) are NOT defined in the child nodes (because you are using io-channels),
// // these values must be hardcoded or defined on the 'readings' node itself, but
// // this is less common. We will use hardcoded values for simplicity but ensure
// // the channel ID mapping is dynamic.
//
// static struct adc_channel_cfg channel_cfgs[] = {
//     {
//         .channel_id = 0,
//         .gain = ADC_GAIN_1_2,
//         .reference = ADC_REF_EXTERNAL0,
//         .differential = 0,
//         .acquisition_time =
//             ADC_ACQ_TIME(ADC_ACQ_TIME_TICKS, 131), // ADC_ACQ_TIME_DEFAULT,
//         .input_positive = 0,
//     },
//     {
//         .channel_id = 2,
//         .gain = ADC_GAIN_1_2,
//         .reference = ADC_REF_EXTERNAL0,
//         .differential = 0,
//         .acquisition_time = ADC_ACQ_TIME(ADC_ACQ_TIME_TICKS, 131),
//         .input_positive = 2,
//         // ADC_ACQ_TIME_DEFAULT,
//
//     },
//     //   {
//     // .channel_id = 10,
//     //       .gain = ADC_GAIN_1_2,
//     //       .reference = ADC_REF_EXTERNAL0,
//     // .differential = 0,
//     //       .acquisition_time = ADC_ACQ_TIME(ADC_ACQ_TIME_TICKS, 131),
//     //       //ADC_ACQ_TIME_DEFAULT,
//     //   },
//     //   {
//     // .channel_id = 11,
//     //       .gain = ADC_GAIN_1_2,
//     //       .reference = ADC_REF_EXTERNAL0,
//     // .differential = 0,
//     //       .acquisition_time = ADC_ACQ_TIME(ADC_ACQ_TIME_TICKS, 131),
//     //       //ADC_ACQ_TIME_DEFAULT,
//     //   },
//
// };
//
// #define CHANNEL_COUNT ARRAY_SIZE(channel_cfgs)
// // Data array of ADC channel voltage references (mV) (Hardcoded for this
// // example)
// static const uint32_t VREFS_MV[CHANNEL_COUNT] = {1800, 1800};
//
// // Buffer size for a single channel read (accounting for oversampling)
// #define BUFFER_SIZE CHANNEL_COUNT //(CONFIG_SEQUENCE_SAMPLES)
// uint16_t channel_reading[BUFFER_SIZE];
//
// // Generic sequence options
// const struct adc_sequence_options options = {
//     .extra_samplings = CONFIG_SEQUENCE_SAMPLES - 1,
//     .interval_us = 0,
// };
//
// // Global sequence structure
// struct adc_sequence sequence = {
//     .buffer = channel_reading,
//     .channels = 0, // Will be set dynamically
//     .buffer_size = sizeof(channel_reading),
//     .resolution = CONFIG_SEQUENCE_RESOLUTION,
//     .oversampling = CONFIG_SEQUENCE_OVERSAMPLING,
//     .options = &options,
// };
//
// // --- Main Logic ---
// int main(void) {
//
//   if (!device_is_ready(adc_dev)) {
//     printf("ADC controller device not ready\n");
//     return 0;
//   }
//
//   // 1. SETUP: Configure all channels once at startup
//   for (size_t i = 0U; i < CHANNEL_COUNT; i++) {
//
//     int err = adc_channel_setup(adc_dev, &channel_cfgs[i]);
//     if (err < 0) {
//       printf("Could not setup channel #%d (%d)\n", channel_cfgs[i].channel_id,
//              err);
//       return 0;
//     }
//   }
//
//   uint32_t count = 0;
//   while (1) {
//     printf("--- Scan Cycle [%u] ---\n", count++);
//
//     /* 2. MANUAL ITERATION: Loop through channels one by one */
//     for (size_t i = 0; i < CHANNEL_COUNT; i++) {
//       const uint8_t hw_channel_id = channel_cfgs[i].channel_id;
//       // Dynamic Configuration: Point sequence to ONLY the current channel's bit
//       // BIT(0) for first pass, BIT(2) for second pass
//       sequence.channels = BIT(hw_channel_id);
//
//       // Perform the read for this single channel
//       int err = adc_read(adc_dev, &sequence);
//       if (err < 0) {
//         printf("Could not read channel %d (%d)\n", hw_channel_id, err);
//         continue;
//       }
//
//       // 3. PROCESS: Handle the result (using the same logic as before)
//       int32_t val_mv = (int32_t)channel_reading[0];
//
//       int err_conv = adc_raw_to_millivolts(VREFS_MV[i], ADC_GAIN_1_2,
//                                            CONFIG_SEQUENCE_RESOLUTION, &val_mv);
//
//       if (err_conv < 0 || VREFS_MV[i] == 0) {
//         printf("- Chan %d: raw %d (mV N/A)\n", hw_channel_id,
//                channel_reading[0]);
//       } else {
//         printf("- Chan %d: raw %d -> %d mV\n", hw_channel_id,
//                channel_reading[0], val_mv);
//       }
//     }
//
//     k_msleep(2000); // Sleep before next full scan cycle
//   }
//   return 0;
// }

// /* ADC node from the devicetree. */
// #define ADC_NODE DT_ALIAS(adc0)
//
// /* Auxiliary macro to obtain channel vref, if available. */
// #define CHANNEL_VREF(node_id) DT_PROP_OR(node_id, zephyr_vref_mv, 0)
//
// /* ADC device specified in devicetree. */
// static const struct device *adc = DEVICE_DT_GET(ADC_NODE);
//
// // #define TEMP_SENSOR_LABEL DT_ALIAS(die_temp0)
//
// /* Common initialization for all channels */
// static struct adc_channel_cfg channel_cfgs[] = {
//     // {
//     //     .channel_id = 0,
//     //     .gain = ADC_GAIN_1_2,
//     //     .reference = ADC_REF_EXTERNAL0,
//     //     .differential = 0,
//     //     .acquisition_time =
//     //         ADC_ACQ_TIME(ADC_ACQ_TIME_TICKS, 131), //
//     ADC_ACQ_TIME_DEFAULT,
//     // },
//        {
//     .channel_id = 2,
//            .gain = ADC_GAIN_1_2,
//            .reference = ADC_REF_EXTERNAL0,
//     .differential = 0,
//            .acquisition_time = ADC_ACQ_TIME(ADC_ACQ_TIME_TICKS, 131)
//            //ADC_ACQ_TIME_DEFAULT,
//
//        },
//     //   {
//     // .channel_id = 10,
//     //       .gain = ADC_GAIN_1_2,
//     //       .reference = ADC_REF_EXTERNAL0,
//     // .differential = 0,
//     //       .acquisition_time = ADC_ACQ_TIME(ADC_ACQ_TIME_TICKS, 131),
//     //       //ADC_ACQ_TIME_DEFAULT,
//     //   },
//     //   {
//     // .channel_id = 11,
//     //       .gain = ADC_GAIN_1_2,
//     //       .reference = ADC_REF_EXTERNAL0,
//     // .differential = 0,
//     //       .acquisition_time = ADC_ACQ_TIME(ADC_ACQ_TIME_TICKS, 131),
//     //       //ADC_ACQ_TIME_DEFAULT,
//     //   },
//
// };
//
// /* Data array of ADC channels for the specified ADC. */
// // static const struct adc_channel_cfg channel_cfgs[] = {
// // 	DT_FOREACH_CHILD_SEP(ADC_NODE, ADC_CHANNEL_CFG_DT, (,))};
// //
// // /* Data array of ADC channel voltage references. */
// // static uint32_t vrefs_mv[] = {DT_FOREACH_CHILD_SEP(ADC_NODE, CHANNEL_VREF,
// // (,))};
//
// static uint32_t vrefs_mv[] = {1800, 1800, 1800, 1800};
//
// /* Get the number of channels defined on the DTS. */
// #define CHANNEL_COUNT ARRAY_SIZE(channel_cfgs)
//
// #define BUFFER_SIZE (CONFIG_SEQUENCE_SAMPLES * CHANNEL_COUNT)
//
//   /* Options for the sequence sampling. */
//   // const struct adc_sequence_options options = {
//   //     .extra_samplings = CONFIG_SEQUENCE_SAMPLES - 1,
//   //     .interval_us = 0,
//   // };
//
//   uint16_t channel_reading[BUFFER_SIZE];
//   struct adc_sequence sequence = {
//       .buffer = channel_reading,
//       .channels = 0,
//       /* buffer size in bytes, not number of samples */
//       .buffer_size = sizeof(channel_reading),
//       .resolution = CONFIG_SEQUENCE_RESOLUTION,
//       .oversampling = CONFIG_SEQUENCE_OVERSAMPLING,
// //      .options = &options,
//   };
//
//
// int main(void) {
//
//   int err;
//   uint32_t count = 0;
//
//
//   /* Configure the sampling sequence to be made. */
//   if (!device_is_ready(adc)) {
//
//     printf("ADC controller device %s not ready\n", adc->name);
//     return 0;
//   }
//
//   /* Configure channels individually prior to sampling. */
//   for (size_t i = 0U; i < CHANNEL_COUNT; i++) {
//
//     //sequence.channels |= BIT(channel_cfgs[i].channel_id);
//     err = adc_channel_setup(adc, &channel_cfgs[i]);
//     if (err < 0) {
//
//       printf("Could not setup channel #%d (%d)\n",
//       channel_cfgs[i].channel_id, err); return 0;
//     }
//   }
//   while (1) {
//
//
//     for (int i = 0; i < CHANNEL_COUNT; i++) {
//
//       printf("ADC reading channel[%d]:\n", channel_cfgs[i].channel_id);
//       sequence.channels = BIT(channel_cfgs[i].channel_id);
//       err = adc_read(adc, &sequence);
//       if(err < 0) {
//         printf("Could not read (%d)\n", err);
//         continue;
//       }
//
//       const struct adc_channel_cfg *cfg = &channel_cfgs[i];
//
//       uint8_t res = CONFIG_SEQUENCE_RESOLUTION;
//       int32_t val_mv;
//       /*
//        * Handle differential mode and standard reading from the flat buffer
//        */
//       if (cfg->differential) {
//         val_mv = (int32_t)((int16_t)channel_reading[0]);
//         res -= 1;
//       } else {
//         val_mv = channel_reading[0];
//       }
//
//       printf("raw %" PRId32, val_mv);
//       err = adc_raw_to_millivolts(vrefs_mv[i], cfg->gain, res, &val_mv);
//
//       /* conversion to mV may not be supported, skip if not */
//       if((err < 0) || vrefs_mv[i] == 0) {
//         printf(" (value in mV not available)\n");
//       } else {
//         printf(" = %" PRId32 "mV\n", val_mv);
//       }
//       k_msleep(2000);
//
//     }
//
//
//
//
//
//
//
//
//
//
//     k_msleep(4000);
//
//   //   err = adc_read(adc, &sequence);
//   //   if (err < 0) {
//   //     printf("Could not read (%d)\n", err);
//   //     continue;
//   //   }
//   //
//   //   for (size_t sample_index = 0U; sample_index < CONFIG_SEQUENCE_SAMPLES;
//   //        sample_index++) {
//   //
//   //     for (size_t channel_index = 0U; channel_index < CHANNEL_COUNT;
//   //          channel_index++) {
//   //       int32_t val_mv;
//   //
//   //       // Calculate the flat index into the 1D buffer:
//   //       // index = (sample_index * CHANNEL_COUNT) + channel_index
//   //       size_t flat_index = (sample_index * CHANNEL_COUNT) +
//   channel_index;
//   //       // Get the configuration for the current channel
//   //       const struct adc_channel_cfg *cfg = &channel_cfgs[channel_index];
//   //
//   //       printf("- Sample %" PRId32 ", channel %" PRId32 ": ", sample_index
//   + 1,
//   //              cfg->channel_id);
//   //
//   //       uint8_t res = CONFIG_SEQUENCE_RESOLUTION;
//   //       /*
//   //        * Handle differential mode and standard reading from the flat
//   buffer
//   //        */
//   //       if (cfg->differential) {
//   //         val_mv = (int32_t)((int16_t)channel_reading[flat_index]);
//   //         res -= 1;
//   //       } else {
//   //         val_mv = channel_reading[flat_index];
//   //       }
//   //
//   //       printf("raw %" PRId32, val_mv);
//   //       err = adc_raw_to_millivolts(vrefs_mv[channel_index], cfg->gain,
//   res,
//   //                                   &val_mv);
//   //
//   //       /* conversion to mV may not be supported, skip if not */
//   //       if ((err < 0) || vrefs_mv[channel_index] == 0) {
//   //         printf(" (value in mV not available)\n");
//   //       } else {
//   //         printf(" = %" PRId32 "mV\n", val_mv);
//   //       }
//   //     }
//   //   }
//   }
//   return 0;
// }
//
/* 20000 msec = 1 sec */
// #define SLEEP_TIME_MS   1000
//
// /* The devicetree node identifier for the "led0" alias. */
// #define LED0_NODE DT_ALIAS(led0)
//
// /*
//  * A build error on this line means your board is unsupported.
//  * See the sample documentation for information on how to fix this.
//  */
// static const struct gpio_dt_spec led0 = GPIO_DT_SPEC_GET(LED0_NODE, gpios);
//
// int main(void) {
//
// 	int ret;
// 	// bool led_state = true;
// 	//
// 	if(!gpio_is_ready_dt(&led0)) {
//
// 		printf("Could not configure gpio pin!\n");
// 		return 0;
// 	}
// 	//
// 	ret = gpio_pin_configure_dt(&led0, GPIO_OUTPUT_ACTIVE);
// 	if (ret < 0) {
//
// 		printf("Could not configure gpio pin!\n");
// 		return 0;
// 	}
//
//
// 	while (1) {
//
// 		ret = gpio_pin_toggle_dt(&led0);
// 		if (ret < 0) {
// 			return 0;
// 		}
// 		//led_state = !led_state;
// 		printf("Hello world from GoodEGG board!\n");
// 		k_msleep(SLEEP_TIME_MS);
// 	}
// 	return 0;
// }
```

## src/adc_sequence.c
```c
#include <stdint.h>
#include <stdio.h>
#include <zephyr/drivers/adc.h>
#include <zephyr/drivers/gpio.h>
#include <zephyr/drivers/sensor.h>
#include <zephyr/kernel.h>
#include <zephyr/device.h>
#include <zephyr/devicetree.h>
#include <zephyr/sys/util.h>

//#define DT_SPEC_AND_COMMA(node_id, prop, idx) ADC_DT_SPEC_GET_BY_IDX(node_id, idx),

#define DT_SPEC_AND_COMMA(node_id,prop,idx) ADC_DT_SPEC_GET_BY_IDX(node_id, idx),
/* Data of ADC io-channels specified in devicetree. */
static struct adc_dt_spec adc_channels[] = {

    DT_FOREACH_PROP_ELEM(DT_PATH(zephyr_user), io_channels, DT_SPEC_AND_COMMA)
};


#define CHANNEL_COUNT ARRAY_SIZE(adc_channels)
#define BUFFER_SIZE (CONFIG_SEQUENCE_SAMPLES * CHANNEL_COUNT) //(CONFIG_SEQUENCE_SAMPLES)
uint16_t channel_reading[BUFFER_SIZE];

// Generic sequence options
const struct adc_sequence_options options = {
    .extra_samplings = CONFIG_SEQUENCE_SAMPLES - 1,
    .interval_us = 0,
};


static uint32_t vrefs_mv[] = {1800, 1800, 1800, 1800};

static struct adc_channel_cfg channel_cfgs[CHANNEL_COUNT] = {
    {
        .channel_id = 3,
        .gain = ADC_GAIN_1_2,
        .reference = ADC_REF_EXTERNAL0,
        .differential = 0,
        .acquisition_time =
            ADC_ACQ_TIME(ADC_ACQ_TIME_TICKS, 131), // ADC_ACQ_TIME_DEFAULT,
        .input_positive = 0,
    },
    // {
    //     .channel_id = 3,
    //     .gain = ADC_GAIN_1_2,
    //     .reference = ADC_REF_EXTERNAL0,
    //     .differential = 0,
    //     .acquisition_time = ADC_ACQ_TIME(ADC_ACQ_TIME_TICKS, 131),
    //     .input_positive = 2,
    //     // ADC_ACQ_TIME_DEFAULT,
    //
    // },
    //   {
    // .channel_id = 10,
    //       .gain = ADC_GAIN_1_2,
    //       .reference = ADC_REF_EXTERNAL0,
    // .differential = 0,
    //       .acquisition_time = ADC_ACQ_TIME(ADC_ACQ_TIME_TICKS, 131),
    //   },
    //   {
    // .channel_id = 11,
    //       .gain = ADC_GAIN_1_2,
    //       .reference = ADC_REF_EXTERNAL0,
    // .differential = 0,
    //       .acquisition_time = ADC_ACQ_TIME(ADC_ACQ_TIME_TICKS, 131),
    //       //ADC_ACQ_TIME_DEFAULT,
    //   },

};

int main(void) {

    int err;
    uint32_t count = 0;
    uint32_t channel_mask = 0;
    for(int i = 0; i < CHANNEL_COUNT; i++) {

        if(!device_is_ready(adc_channels[i].dev)) {

            printf("ADC controller device %s not ready\n", adc_channels[i].dev->name);
            return -ENODEV;
        }
        // adc_channels[i].channel_cfg.input_positive = adc_channels[i].channel_id;
        // adc_channels[i].channel_cfg.channel_id = adc_channels[i].channel_id;
        // adc_channels[i].channel_cfg.acquisition_time = ADC_ACQ_TIME(ADC_ACQ_TIME_TICKS, 131);
        // adc_channels[i].channel_cfg.differential = 0;

        uint32_t chid = adc_channels[i].channel_id;
        uint32_t encoded_chid = chid < 8 ? chid : 0x20 | (chid & 0x7); 
        channel_cfgs[i].channel_id =  chid;
        channel_cfgs[i].input_positive = encoded_chid; //adc_channels[i].channel_id;
        err = adc_channel_setup(adc_channels[i].dev, &channel_cfgs[i]);
        if(err < 0) {
            printf("Could not setup channel %d \n", adc_channels[i].channel_id);
            return -1;

            //printf("Could not setup channel #%d (%d)\n",
            //channel_cfgs[i].channel_id, err); return 0;
        }
        printf("Successfully setup channel %d \n", chid);
        channel_mask |= BIT(chid);
    }

    // Global sequence structure
    struct adc_sequence sequence = {
        .buffer = channel_reading,
        .channels = channel_mask, // Will be set dynamically
        .buffer_size = sizeof(channel_reading),
        .resolution = CONFIG_SEQUENCE_RESOLUTION,
        .oversampling = CONFIG_SEQUENCE_OVERSAMPLING,
        .options = &options,
    };
    while (1) {

        k_msleep(1000);
        err = adc_read(adc_channels[0].dev, &sequence);
        if(err < 0) {
            printf("Could not read (%d)\n", err);
            continue;
        }

        for(size_t sample_index = 0U; sample_index < CONFIG_SEQUENCE_SAMPLES;
             sample_index++) {

          for(size_t channel_index = 0U; channel_index < CHANNEL_COUNT; channel_index++) {

            int32_t val_mv;

            // Calculate the flat index into the 1D buffer:
            // index = (sample_index * CHANNEL_COUNT) + channel_index
            size_t flat_index = (sample_index * CHANNEL_COUNT) + channel_index;
            // Get the configuration for the current channel
            const struct adc_channel_cfg *cfg = &channel_cfgs[channel_index];

            printf("- Sample %" PRId32 ", channel %" PRId32 ": ", sample_index + 1,
                   cfg->channel_id);

            uint8_t res = CONFIG_SEQUENCE_RESOLUTION;
            /*
             * Handle differential mode and standard reading from the flat
      buffer
             */
            val_mv = channel_reading[flat_index];

            printf("raw %" PRId32, val_mv);
            err = adc_raw_to_millivolts(vrefs_mv[channel_index], cfg->gain,res,
                                        &val_mv);

            /* conversion to mV may not be supported, skip if not */
            if ((err < 0) || vrefs_mv[channel_index] == 0) {
              printf(" (value in mV not available)\n");
            } else {
              printf(" = %" PRId32 "mV\n", val_mv);
            }
          }
        }
  }
  return 0;
}
```
